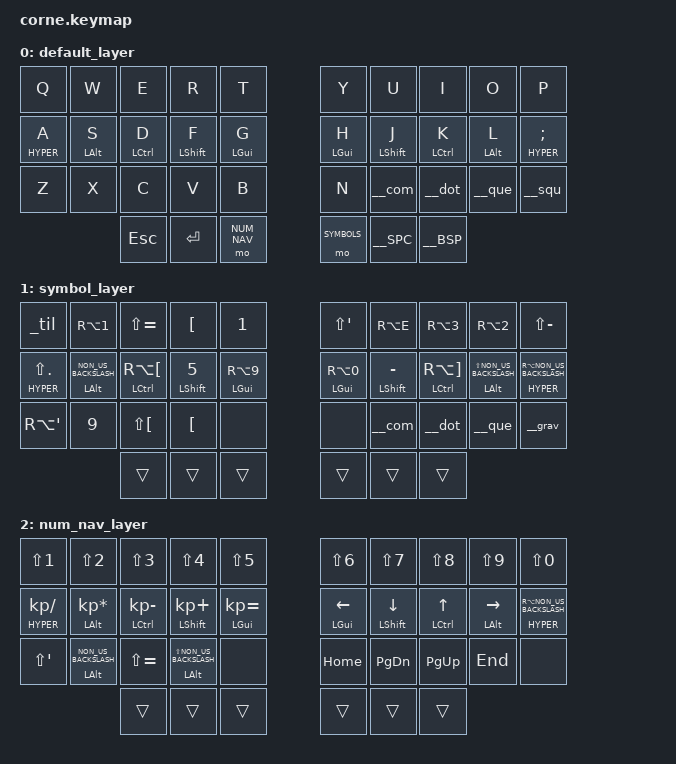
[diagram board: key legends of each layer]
#include <behaviors.dtsi>
#include <dt-bindings/zmk/keys.h>
#include <dt-bindings/zmk/bt.h>

/ {
  chosen {
    zmk,physical-layout = &foostan_corne_5col_layout;
  };
};


#define DEFAULT   0
#define SYMBOLS   1
#define NUM_NAV   2


#define  ___  &trans
#define  _x_  &none

#define  HYPER  LC(LA(LS(LGUI)))

#define  RAISE  &mo SYMBOLS
#define  LOWER  &mo NUM_NAV


// DEFAULT

#define  __a  &kp Q
#define  __z  &kp W
#define  __e  &kp E
#define  __r  &kp R
#define  __t  &kp T
#define  __y  &kp Y
#define  __u  &kp U
#define  __i  &kp I
#define  __o  &kp O
#define  __p  &kp P

#define  __H_q  &mt HYPER  A
#define  __A_s  &mt LALT   S
#define  __C_d  &mt LCTRL  D
#define  __S_f  &mt LSHIFT F
#define  __M_g  &mt LGUI   G
#define  __M_h  &mt LGUI   H
#define  __S_j  &mt LSHIFT J
#define  __C_k  &mt LCTRL  K
#define  __A_l  &mt LALT   L
#define  __H_m  &mt HYPER  SEMI

#define  __w    &kp Z
#define  __x    &kp X
#define  __c    &kp C
#define  __v    &kp V
#define  __b    &kp B
#define  __n    &kp N

#define  __ESC  &kp ESC
#define  __RET  &kp RET


// SYMBOLS

// &_til macro                // ~
#define __bar  &kp RA(N1)     // |
#define __und  &kp LS(EQUAL)  // _
#define __dol  &kp LBKT       // $
#define __amp  &kp N1         // &
#define __pro  &kp LS(SQT)    // %
#define __eur  &kp RA(E)      // €
#define __has  &kp RA(N3)     // #
#define __at   &kp RA(N2)     // @
#define __deg  &kp LS(MINUS)  // °

#define __fsl  &mt HYPER  LS(DOT)               // /
#define __lt   &mt LALT   NON_US_BACKSLASH      // <
#define __lbr  &mt LCTRL  RA(LBKT)              // [
#define __lpa  &mt LSHIFT N5                    // (
#define __lac  &mt LGUI   RA(N9)                // {
#define __rac  &mt LGUI   RA(N0)                // }
#define __rpa  &mt LSHIFT MINUS                 // )
#define __rbr  &mt LCTRL  RA(RBKT)              // ]
#define __gt   &mt LALT   LS(NON_US_BACKSLASH)  // >
#define __bsl  &mt HYPER  RA(NON_US_BACKSLASH)  // \

#define __aigu  &kp RA(SQT)   // é
#define __cce   &kp N9        // ç
#define __trm   &kp LS(LBKT)  // ë
#define __car   &kp LBKT      // ^


// NUMBERS & NAVIGATION

#define  __1  &kp LS(N1)
#define  __2  &kp LS(N2)
#define  __3  &kp LS(N3)
#define  __4  &kp LS(N4)
#define  __5  &kp LS(N5)
#define  __6  &kp LS(N6)
#define  __7  &kp LS(N7)
#define  __8  &kp LS(N8)
#define  __9  &kp LS(N9)
#define  __0  &kp LS(N0)

#define  H_div  &mt HYPER  KP_DIVIDE
#define  A_mul  &mt LALT   KP_MULTIPLY
#define  C_min  &mt LCTRL  KP_MINUS
#define  S_plu  &mt LSHIFT KP_PLUS
#define  M_equ  &mt LGUI   KP_EQUAL
#define  M_Le   &mt LGUI   LEFT
#define  S_Dn   &mt LSHIFT DOWN
#define  C_Up   &mt LCTRL  UP
#define  A_Rg   &mt LALT   RIGHT
#define  H_bsl  &mt HYPER  RA(NON_US_BACKSLASH)

#define  __HOME   &kp HOME
#define  __PG_DN  &kp PG_DN
#define  __PG_UP  &kp PG_UP
#define  __END    &kp END

/ {
  behaviors {
    __com: __com {  // , ;
      compatible = "zmk,behavior-mod-morph";
      #binding-cells = <0>;
      bindings = <&kp M>, <&kp COMMA>;
      mods = <(MOD_LSFT|MOD_RSFT)>;
    };
    __dot: __dot {  // . ;
      compatible = "zmk,behavior-mod-morph";
      #binding-cells = <0>;
      bindings = <&kp LS(COMMA)>, <&kp DOT>;
      mods = <(MOD_LSFT|MOD_RSFT)>;
    };
    __que: __que {  // ? !
      compatible = "zmk,behavior-mod-morph";
      #binding-cells = <0>;
      bindings = <&kp LS(M)>, <&kp N8>;
      mods = <(MOD_LSFT|MOD_RSFT)>;
    };
    __squ: __squ {  // ' "
      compatible = "zmk,behavior-mod-morph";
      #binding-cells = <0>;
      bindings = <&kp N4>, <&kp N3>;
      mods = <(MOD_LSFT|MOD_RSFT)>;
    };
    __SPC: __SPC {
      compatible = "zmk,behavior-mod-morph";
      #binding-cells = <0>;
      bindings = <&kp SPACE>, <&kp TAB>;
      mods = <(MOD_LSFT|MOD_RSFT)>;
    };
    __BSP: __BSP {
      compatible = "zmk,behavior-mod-morph";
      #binding-cells = <0>;
      bindings = <&kp BSPC>, <&kp DEL>;
      mods = <(MOD_LSFT|MOD_RSFT)>;
    };
    __grav: __grav {
      compatible = "zmk,behavior-mod-morph";
      #binding-cells = <0>;
      bindings = <&kp RA(BSLH)>, <&_grav3>;
      mods = <(MOD_LSFT|MOD_RSFT)>;
    };
  };

  macros {
    _til: _til {
      compatible = "zmk,behavior-macro";
      #binding-cells = <0>;
      bindings = <&macro_tap &kp RA(SLASH) &kp SPACE>;
    };
    _grav3: _grav3 {
      compatible = "zmk,behavior-macro";
      #binding-cells = <0>;
      bindings
        = <&macro_tap &kp RA(BSLH) &kp SPACE>
        , <&macro_tap &kp RA(BSLH) &kp SPACE>
        , <&macro_tap &kp RA(BSLH) &kp SPACE>
        ;
    };
  };

  keymap {
    compatible = "zmk,keymap";

    default_layer {
      bindings = <
// ╭─────────┬─────────┬─────────┬─────────┬─────────╮   ╭─────────┬─────────┬─────────┬─────────┬─────────╮
       __a       __z       __e       __r       __t           __y       __u       __i       __o       __p
// ├─────────┼─────────┼─────────┼─────────┼─────────┤   ├─────────┼─────────┼─────────┼─────────┼─────────┤
      __H_q     __A_s     __C_d     __S_f     __M_g         __M_h     __S_j     __C_k     __A_l     __H_m
// ├─────────┼─────────┼─────────┼─────────┼─────────┤   ├─────────┼─────────┼─────────┼─────────┼─────────┤
       __w       __x       __c       __v       __b           __n     &__com    &__dot    &__que    &__squ
// ╰─────────┴─────────┼─────────┼─────────┼─────────┤   ├─────────┼─────────┼─────────┼─────────┴─────────╯
                          __ESC     __RET     LOWER         RAISE    &__SPC    &__BSP
//                     ╰─────────┴─────────┴─────────╯   ╰─────────┴─────────┴─────────╯
      >;
    };

    symbol_layer {
      bindings = <
// ╭─────────┬─────────┬─────────┬─────────┬─────────╮   ╭─────────┬─────────┬─────────┬─────────┬─────────╮
      &_til     __bar     __und     __dol     __amp         __pro     __eur     __has     __at      __deg
// ├─────────┼─────────┼─────────┼─────────┼─────────┤   ├─────────┼─────────┼─────────┼─────────┼─────────┤
      __fsl     __lt      __lbr     __lpa     __lac         __rac     __rpa     __rbr     __gt      __bsl
// ├─────────┼─────────┼─────────┼─────────┼─────────┤   ├─────────┼─────────┼─────────┼─────────┼─────────┤
     __aigu     __cce     __trm     __car      _x_           _x_     &__com    &__dot    &__que    &__grav
// ╰─────────┴─────────┼─────────┼─────────┼─────────┤   ├─────────┼─────────┼─────────┼─────────┴─────────╯
                           ___       ___       ___           ___       ___       ___
//                     ╰─────────┴─────────┴─────────╯   ╰─────────┴─────────┴─────────╯
      >;
    };

    num_nav_layer {
      bindings = <
// ╭─────────┬─────────┬─────────┬─────────┬─────────╮   ╭─────────┬─────────┬─────────┬─────────┬─────────╮
       __1       __2       __3       __4       __5           __6       __7       __8       __9       __0
// ├─────────┼─────────┼─────────┼─────────┼─────────┤   ├─────────┼─────────┼─────────┼─────────┼─────────┤
      H_div     A_mul     C_min     S_plu     M_equ          M_Le      S_Dn      C_Up      A_Rg     H_bsl
// ├─────────┼─────────┼─────────┼─────────┼─────────┤   ├─────────┼─────────┼─────────┼─────────┼─────────┤
      __pro     __lt      __und     __gt       _x_         __HOME    __PG_DN   __PG_UP    __END      _x_
// ╰─────────┴─────────┼─────────┼─────────┼─────────┤   ├─────────┼─────────┼─────────┼─────────┴─────────╯
                           ___       ___       ___           ___       ___       ___
//                     ╰─────────┴─────────┴─────────╯   ╰─────────┴─────────┴─────────╯
      >;
    };
  };
};

// TODO:
// Cut, Copy, Paste, Undo, Redo
// Media and volume control
// Screen brightness control
// Underglow RGB control
// BTLE control
// Function keys
// Printscreen
